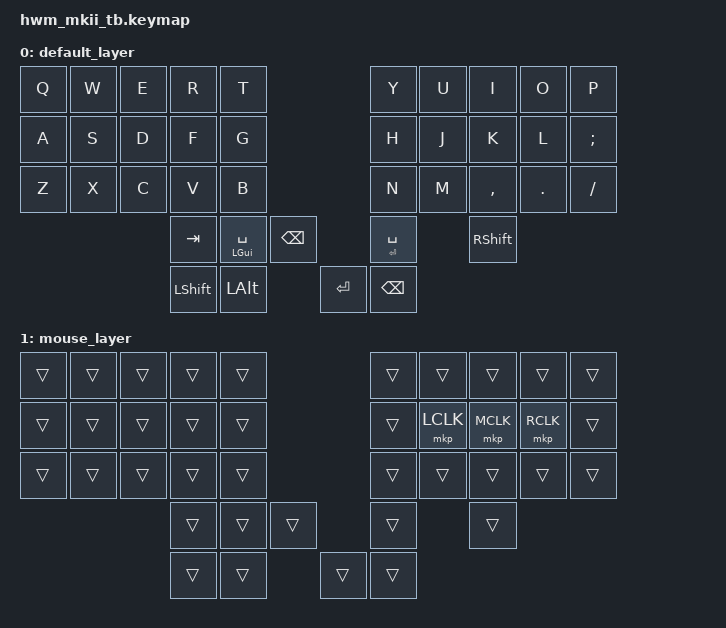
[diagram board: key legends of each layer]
#include <behaviors.dtsi>
#include <dt-bindings/zmk/bt.h>
#include <dt-bindings/zmk/keys.h>
#include <dt-bindings/zmk/mouse.h>
#include <dt-bindings/zmk/outputs.h>
#include <dt-bindings/zmk/ext_power.h>
#include "mouse.dtsi"

#define DEFAULT 0
#define MOUSE   1
#define BT      2


/ {

    keymap {
        compatible = "zmk,keymap";

        // Layer 0
        default_layer {
            bindings = <
    &kp Q &kp W &kp E &kp R &kp T                                   &kp Y &kp U &kp I &kp O &kp P    
    &kp A &kp S &kp D &kp F &kp G                                   &kp H &kp J &kp K &kp L &kp SEMI 
    &kp Z &kp X &kp C &kp V &kp B                                   &kp N &kp M &kp COMMA &kp DOT &kp FSLH 
                    &kp TAB &mt LGUI SPACE &kp BSPC             &mt RET SPACE &kp RSHFT
                    &kp LSHFT &kp LALT &kp RET                  &kp BSPC
            >;
        };

        // Layer 1
        mouse_layer {
            bindings = <
    &trans &trans &trans &trans &trans                                          &trans &trans &trans &trans &trans
    &trans &trans &trans &trans &trans                                          &trans &mkp LCLK &mkp MCLK &mkp RCLK &trans
    &trans &trans &trans &trans &trans                                          &trans &trans &trans &trans &trans
                        &trans &trans &trans                                   &trans &trans
                        &trans &trans &trans                                   &trans
            >;

        };
    };
};
